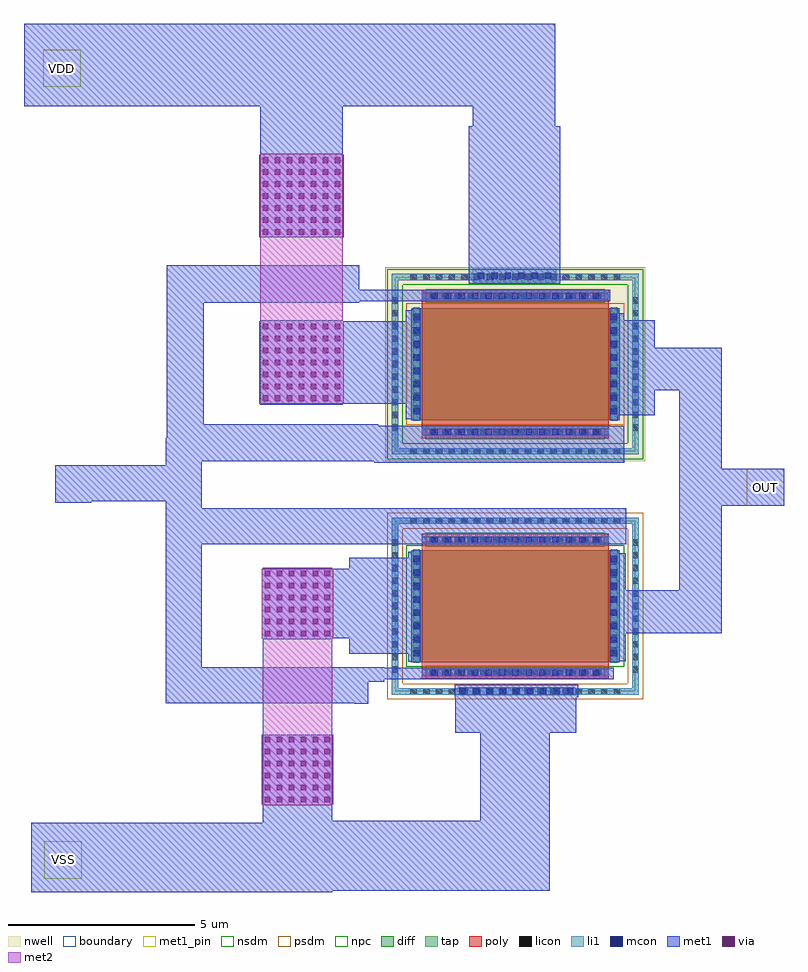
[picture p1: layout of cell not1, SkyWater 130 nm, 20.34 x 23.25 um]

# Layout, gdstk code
import gdstk
lib = gdstk.Library(unit=1e-6, precision=1e-09)
def R(c, l, rs):  # rectangles x0, y0, x1, y1
    for r in rs: c.add(gdstk.rectangle(r[:2], r[2:], *l))
def A(c, l, x, y, w, h, nx, ny, dx, dy):  # array of equal rectangles
    R(c, l, [(x+i*dx, y+j*dy, x+i*dx+w, y+j*dy+h) for i in range(nx) for j in range(ny)])
nwell = (64, 20)
diff = (65, 20)
tap = (65, 44)
poly = (66, 20)
licon = (66, 44)
li1 = (67, 20)
mcon = (67, 44)
met1_pin = (68, 16)
met1 = (68, 20)
via = (68, 44)
met2 = (69, 20)
nsdm = (93, 44)
psdm = (94, 20)
npc = (95, 20)
boundary = (235, 4)

sky130_fd_pr__pfet_01v8_ = lib.new_cell('sky130_fd_pr__pfet_01v8_SKN7VM')
R(sky130_fd_pr__pfet_01v8_, nwell, [(-3.48,-2.595,3.48,2.595)])
R(sky130_fd_pr__pfet_01v8_, diff, [(-2.79,-1.5,2.79,1.5)])
R(sky130_fd_pr__pfet_01v8_, tap, [(-3.3,-2.415,3.3,-2.245), (-3.3,-2.245,-3.13,2.245), (3.13,-2.245,3.3,2.245), (-3.3,2.245,3.3,2.415)])
R(sky130_fd_pr__pfet_01v8_, poly, [(-2.5,-1.985,2.5,1.985)])
A(sky130_fd_pr__pfet_01v8_, licon, -2.805, -2.415, 0.17, 0.17, 17, 2, 0.34, 4.66)
A(sky130_fd_pr__pfet_01v8_, licon, -2.295, -1.905, 0.17, 0.17, 14, 2, 0.34, 3.64)
A(sky130_fd_pr__pfet_01v8_, licon, -3.3, -1.785, 0.17, 0.17, 1, 11, 0, 0.34)
A(sky130_fd_pr__pfet_01v8_, licon, 3.13, -1.785, 0.17, 0.17, 1, 11, 0, 0.34)
A(sky130_fd_pr__pfet_01v8_, licon, -2.73, -1.275, 0.17, 0.17, 1, 8, 0, 0.34)
A(sky130_fd_pr__pfet_01v8_, licon, 2.56, -1.275, 0.17, 0.17, 1, 8, 0, 0.34)
R(sky130_fd_pr__pfet_01v8_, li1, [(-3.3,-2.415,3.3,-2.245), (-3.3,-2.245,-3.13,2.245), (3.13,-2.245,3.3,2.245), (-2.5,-1.905,2.5,-1.735), (-2.73,-1.52,-2.56,1.52), (2.56,-1.52,2.73,1.52), (-2.5,1.735,2.5,1.905), (-3.3,2.245,3.3,2.415)])
A(sky130_fd_pr__pfet_01v8_, mcon, -2.245, -1.905, 0.17, 0.17, 13, 2, 0.36, 3.64)
A(sky130_fd_pr__pfet_01v8_, mcon, -2.73, -1.345, 0.17, 0.17, 1, 8, 0, 0.36)
A(sky130_fd_pr__pfet_01v8_, mcon, 2.56, -1.345, 0.17, 0.17, 1, 8, 0, 0.36)
R(sky130_fd_pr__pfet_01v8_, met1, [(-2.48,-1.935,2.48,-1.705), (-2.76,-1.5,-2.53,1.5), (2.53,-1.5,2.76,1.5), (-2.48,1.705,2.48,1.935)])
R(sky130_fd_pr__pfet_01v8_, nsdm, [(-3.425,-2.54,3.425,-2.12), (-3.425,-2.12,-3.005,2.12), (3.005,-2.12,3.425,2.12), (-3.425,2.12,3.425,2.54)])
R(sky130_fd_pr__pfet_01v8_, psdm, [(-2.915,-1.625,2.915,1.625)])
R(sky130_fd_pr__pfet_01v8_, npc, [(-2.395,-2.005,2.395,-1.635), (-2.395,1.635,2.395,2.005)])
R(sky130_fd_pr__pfet_01v8_, boundary, [(-3.215,-2.33,3.215,2.33)])

sky130_fd_pr__nfet_01v8_ = lib.new_cell('sky130_fd_pr__nfet_01v8_Q3BYGR')
R(sky130_fd_pr__nfet_01v8_, diff, [(-2.79,-1.5,2.79,1.5)])
R(sky130_fd_pr__nfet_01v8_, tap, [(-3.3,-2.37,3.3,-2.2), (-3.3,-2.2,-3.13,2.2), (3.13,-2.2,3.3,2.2), (-3.3,2.2,3.3,2.37)])
R(sky130_fd_pr__nfet_01v8_, poly, [(-2.5,-1.94,2.5,1.94)])
A(sky130_fd_pr__nfet_01v8_, licon, -2.805, -2.37, 0.17, 0.17, 17, 2, 0.34, 4.57)
A(sky130_fd_pr__nfet_01v8_, licon, -2.295, -1.86, 0.17, 0.17, 14, 2, 0.34, 3.55)
A(sky130_fd_pr__nfet_01v8_, licon, -3.3, -1.785, 0.17, 0.17, 1, 11, 0, 0.34)
A(sky130_fd_pr__nfet_01v8_, licon, 3.13, -1.785, 0.17, 0.17, 1, 11, 0, 0.34)
A(sky130_fd_pr__nfet_01v8_, licon, -2.73, -1.275, 0.17, 0.17, 1, 8, 0, 0.34)
A(sky130_fd_pr__nfet_01v8_, licon, 2.56, -1.275, 0.17, 0.17, 1, 8, 0, 0.34)
R(sky130_fd_pr__nfet_01v8_, li1, [(-3.3,-2.37,3.3,-2.2), (-3.3,-2.2,-3.13,2.2), (3.13,-2.2,3.3,2.2), (-2.5,-1.86,2.5,-1.69), (-2.73,-1.52,-2.56,1.52), (2.56,-1.52,2.73,1.52), (-2.5,1.69,2.5,1.86), (-3.3,2.2,3.3,2.37)])
A(sky130_fd_pr__nfet_01v8_, mcon, -2.245, -1.86, 0.17, 0.17, 13, 2, 0.36, 3.55)
A(sky130_fd_pr__nfet_01v8_, mcon, -2.73, -1.345, 0.17, 0.17, 1, 8, 0, 0.36)
A(sky130_fd_pr__nfet_01v8_, mcon, 2.56, -1.345, 0.17, 0.17, 1, 8, 0, 0.36)
R(sky130_fd_pr__nfet_01v8_, met1, [(-2.48,-1.89,2.48,-1.66), (-2.76,-1.5,-2.53,1.5), (2.53,-1.5,2.76,1.5), (-2.48,1.66,2.48,1.89)])
R(sky130_fd_pr__nfet_01v8_, nsdm, [(-2.915,-1.625,2.915,1.625)])
R(sky130_fd_pr__nfet_01v8_, psdm, [(-3.425,-2.495,3.425,-2.075), (-3.425,-2.075,-3.005,2.075), (3.005,-2.075,3.425,2.075), (-3.425,2.075,3.425,2.495)])
R(sky130_fd_pr__nfet_01v8_, npc, [(-2.395,-1.96,2.395,-1.59), (-2.395,1.59,2.395,1.96)])
R(sky130_fd_pr__nfet_01v8_, boundary, [(-3.21,-2.28,3.21,2.28)])

not1 = lib.new_cell('not1')
R(not1, li1, [(8.4,-4.33,11.52,-4.11), (8.79,6.72,11.03,7.08)])
A(not1, mcon, 8.435, -4.305, 0.17, 0.17, 9, 1, 0.36, 0)
A(not1, mcon, 8.925, 6.815, 0.17, 0.17, 6, 1, 0.36, 0)
R(not1, met1_pin, [(-2.67,-9.23,-1.67,-8.23), (16.12,0.74,17.12,1.74), (-2.7,11.95,-1.7,12.95)])
R(not1, met1, [(-3.02,-9.6,5.03,-9.55), (-3.02,-9.55,10.85,-7.74), (3.17,-7.74,10.85,-7.69), (3.17,-7.69,5.03,-7.24), (8.99,-7.69,10.85,-5.33), (3.14,-7.24,5.06,-5.38), (8.33,-5.33,11.56,-4.38), (5.62,-4.55,6,-4.545), (0.575,-4.545,6,-3.96), (8.31,-4.38,11.62,-4.05), (0.575,-3.96,6.43,-3.9), (0.575,-3.9,12.57,-3.59), (0.575,-3.59,6.43,-3.58), (0.575,-3.58,5.875,-3.575), (0.575,-3.575,1.545,-0.29), (7.07,-3.43,7.35,-3.21), (12.49,-3.42,12.88,-2.66), (5.49,-3.21,7.35,-2.8), (3.17,-2.83,5.03,-2.8), (3.14,-2.8,7.35,-0.94), (12.49,-2.66,15.46,-1.52), (12.49,-1.52,12.88,-0.53), (14.32,-1.52,15.46,0.74), (3.17,-0.94,5.03,-0.91), (5.49,-0.94,7.35,-0.64), (7.07,-0.64,7.35,-0.48), (0.575,-0.29,12.9,0.68), (0.575,0.68,1.545,0.87), (14.32,0.74,17.12,1.74), (-2.38,0.83,-1.42,0.87), (-2.38,0.87,1.545,1.83), (14.32,1.74,15.46,3.83), (0.575,1.83,1.545,1.93), (6.15,1.89,12.84,1.93), (0.575,1.93,12.84,2.545), (0.6,2.545,12.84,2.89), (0.6,2.89,6.26,2.93), (0.6,2.93,1.6,6.18), (7,3.06,7.38,3.48), (12.52,3.17,13.66,3.83), (3.11,3.45,5.31,3.48), (3.11,3.48,7.38,5.68), (12.52,3.83,15.46,4.97), (12.52,4.97,13.66,5.71), (3.11,5.68,5.31,5.71), (7,5.68,7.38,5.97), (12.52,5.71,12.85,5.89), (0.6,6.18,5.76,6.22), (0.6,6.22,12.47,6.53), (0.6,6.53,5.76,7.18), (8.68,6.68,11.13,10.9), (3.075,7.925,5.345,10.135), (3.105,10.135,5.315,11.435), (8.795,10.9,11.005,11.435), (-3.215,11.435,11.005,13.645)])
A(not1, via, 3.225, -7.185, 0.15, 0.15, 6, 6, 0.32, 0.32)
A(not1, via, 3.225, -2.745, 0.15, 0.15, 6, 6, 0.32, 0.32)
A(not1, via, 3.175, 3.545, 0.15, 0.15, 7, 7, 0.32, 0.32)
A(not1, via, 3.175, 7.995, 0.15, 0.15, 7, 7, 0.32, 0.32)
R(not1, met2, [(3.17,-7.27,5.03,-2.8), (3.14,-2.8,5.06,-0.94), (3.105,3.475,5.315,3.48), (3.08,3.48,5.34,5.68), (3.105,5.68,5.315,10.165)])
not1.add(gdstk.Reference(sky130_fd_pr__pfet_01v8_, (9.93,4.535)))
not1.add(gdstk.Reference(sky130_fd_pr__nfet_01v8_, (9.93,-1.94)))
not1.add(gdstk.Label('VDD', (-2.2,12.45), layer=68, texttype=5))
not1.add(gdstk.Label('VSS', (-2.17,-8.73), layer=68, texttype=5))
not1.add(gdstk.Label('OUT', (16.62,1.24), layer=68, texttype=5))

lib.write_gds('not1.gds')
